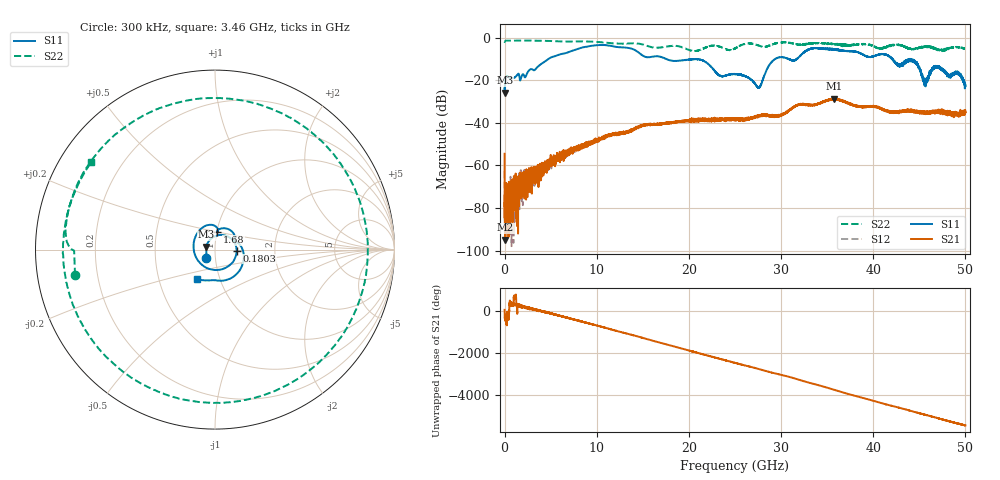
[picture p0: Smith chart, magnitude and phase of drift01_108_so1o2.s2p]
!Created with skrf (http://scikit-rf.org).
# Hz S RI R 50.0
!freq ReS11 ImS11 ReS21 ImS21 ReS12 ImS12 ReS22 ImS22
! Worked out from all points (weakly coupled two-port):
!   10001 points, 300 kHz to 50 GHz, reference 50 ohm
!   highest |S21| = -28.70 dB at 35.74 GHz (marker M1); lowest = -94.8 dB at 85.3 MHz (marker M2)
!   lowest |S11| = -25.8 dB at 5.3 MHz (marker M3), VSWR 1.11, Z = 45.3 + j1.41 ohm
!   |S11| at or under -10 dB: start of sweep to 4.769 GHz; 17.52 GHz to 29.39 GHz (11.87 GHz wide, 50.6 % of centre); 43.99 GHz to end of sweep (the widest 3 of 10)
!   |S22| runs from -6.4 to -1.4 dB; largest |S21 - S12| = 0.0038
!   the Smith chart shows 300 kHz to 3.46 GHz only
!   S11 on the Smith chart (normalised r, x): 300 kHz: 0.91, -0.08; 180.3 MHz: 1.27, -0.01; 1.68 GHz: 1.01, +0.20; 3.46 GHz: 0.78, -0.26
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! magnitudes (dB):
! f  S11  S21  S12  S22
! 300 kHz  -23.7  -54.5  -62.6  -2.0
! 5.3 MHz  -25.8  -77.7  -77.2  -2.1
! 85.3 MHz  -19.3  -94.8  -75.1  -1.5
! 180.3 MHz  -18.4  -74.2  -72.1  -1.4
! 715.3 MHz  -19.0  -68.5  -81.4  -1.5
! 1.68 GHz  -20.1  -66.5  -63.7  -1.4
! 3.46 GHz  -14.3  -64.3  -61.2  -1.5
! 8.335 GHz  -4.8  -51.6  -51.3  -1.8
! 16.67 GHz  -8.8  -40.5  -40.7  -4.8
! 25 GHz  -17.1  -38.2  -38.6  -5.1
! 27.59 GHz  -23.5  -36.8  -36.9  -3.8
! 29.3 GHz  -10.2  -37.2  -36.9  -2.9
! 31.47 GHz  -10.7  -32.3  -32.4  -2.9
! 33.34 GHz  -5.1  -31.6  -31.6  -2.7
! 35.74 GHz  -5.5  -28.7  -29.0  -3.0
! 41.67 GHz  -8.7  -34.3  -34.8  -4.2
! 42.74 GHz  -13.0  -34.7  -34.9  -3.3
! 44.48 GHz  -10.8  -34.6  -34.7  -5.4
! 45.63 GHz  -20.4  -34.9  -35.0  -4.3
! 46.96 GHz  -13.5  -34.9  -34.3  -5.7
! 49.26 GHz  -17.6  -35.4  -35.6  -4.7
! 50 GHz  -22.5  -34.9  -35.4  -5.4
